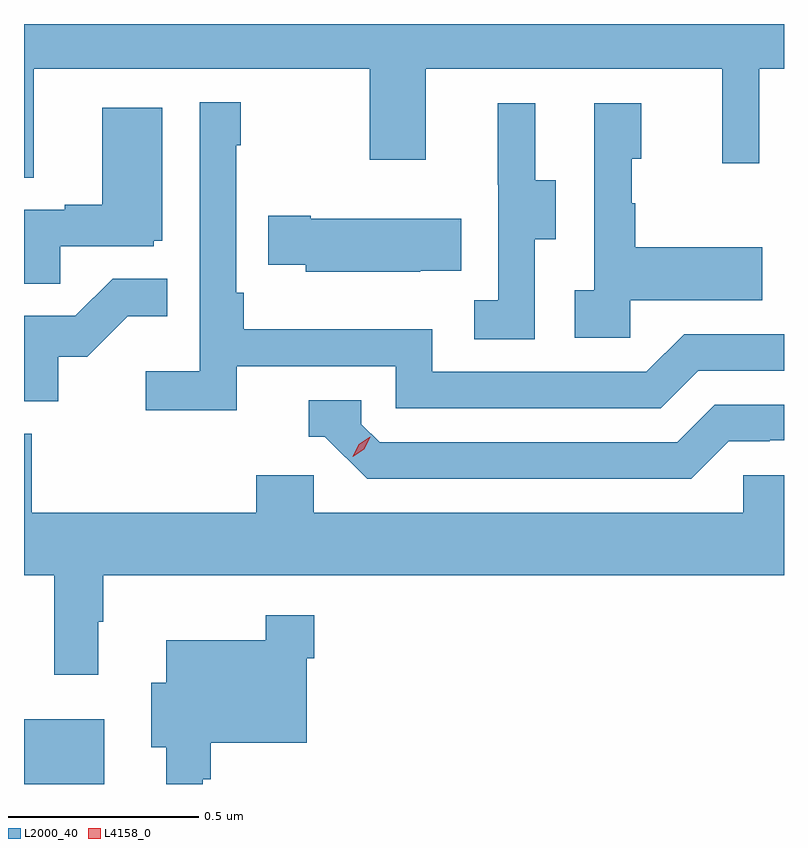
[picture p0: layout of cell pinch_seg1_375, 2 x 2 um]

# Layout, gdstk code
import gdstk
lib = gdstk.Library(unit=1e-6, precision=1e-09)
def R(c, l, rs):  # rectangles x0, y0, x1, y1
    for r in rs: c.add(gdstk.rectangle(r[:2], r[2:], *l))
def P(c, l, *ps):  # polygons
    for p in ps: c.add(gdstk.Polygon(p, *l))
L2000_40 = (2000, 40)
L4158_0 = (4158, 0)

pinch_seg1_375 = lib.new_cell('pinch_seg1_375')
R(pinch_seg1_375, L2000_40, [(970.11,527.206,970.321,527.377)])
P(pinch_seg1_375, L2000_40, [(970.135,529.088),(971.02,529.088),(971.02,528.849),(971.167,528.849),(971.167,529.088),(971.948,529.088),(971.948,528.84),(972.045,528.84),(972.045,529.088),(972.11,529.088),(972.11,529.206),(970.11,529.206),(970.11,528.802),(970.135,528.802)],
  [(970.67,528.306),(971.088,528.306),(971.088,528.195),(971.785,528.195),(971.884,528.294),(972.11,528.294),(972.11,528.39),(971.847,528.39),(971.748,528.291),(971.184,528.291),(971.184,528.403),(970.688,528.403),(970.688,528.499),(970.668,528.499),(970.668,528.887),(970.681,528.887),(970.681,529),(970.572,529),(970.572,528.292),(970.431,528.292),(970.431,528.19),(970.67,528.19)],
  [(971.706,528.479),(972.053,528.479),(972.053,528.619),(971.719,528.619),(971.719,528.734),(971.709,528.734),(971.709,528.852),(971.734,528.852),(971.734,528.997),(971.61,528.997),(971.61,528.506),(971.559,528.506),(971.559,528.381),(971.706,528.381)],
  [(971.454,528.64),(971.509,528.64),(971.509,528.795),(971.455,528.795),(971.455,528.997),(971.357,528.997),(971.357,528.783),(971.358,528.783),(971.358,528.479),(971.295,528.479),(971.295,528.376),(971.454,528.376)],
  [(970.205,528.621),(970.452,528.621),(970.452,528.636),(970.474,528.636),(970.474,528.985),(970.316,528.985),(970.316,528.73),(970.217,528.73),(970.217,528.717),(970.11,528.717),(970.11,528.523),(970.205,528.523)],
  [(971.153,528.557),(971.261,528.557),(971.261,528.694),(970.864,528.694),(970.864,528.702),(970.753,528.702),(970.753,528.572),(970.851,528.572),(970.851,528.554),(971.153,528.554)],
  [(970.2,528.33),(970.276,528.33),(970.383,528.437),(970.487,528.437),(970.487,528.536),(970.343,528.536),(970.245,528.438),(970.11,528.438),(970.11,528.213),(970.2,528.213)],
  [(971.965,528.108),(972.072,528.108),(972.072,528.111),(972.11,528.111),(972.11,528.204),(971.928,528.204),(971.829,528.105),(971.046,528.105),(970.998,528.153),(970.998,528.216),(970.859,528.216),(970.859,528.12),(970.902,528.12),(971.013,528.009),(971.866,528.009)],
  [(970.306,527.633),(970.318,527.633),(970.318,527.756),(972.11,527.756),(972.11,528.018),(972.003,528.018),(972.003,527.92),(970.872,527.92),(970.872,528.018),(970.721,528.018),(970.721,527.92),(970.13,527.92),(970.13,528.128),(970.11,528.128),(970.11,527.756),(970.189,527.756),(970.189,527.493),(970.306,527.493)],
  [(970.581,527.219),(970.601,527.219),(970.601,527.315),(970.854,527.315),(970.854,527.537),(970.874,527.537),(970.874,527.65),(970.746,527.65),(970.746,527.584),(970.484,527.584),(970.484,527.473),(970.445,527.473),(970.445,527.303),(970.484,527.303),(970.484,527.206),(970.581,527.206)])
P(pinch_seg1_375, L4158_0, [(970.975,528.067),(970.975,528.067),(970.991,528.1),(971.021,528.12),(971.021,528.12),(971.021,528.119),(971.006,528.087),(970.975,528.067)])

lib.write_gds('pinch_seg1_375.gds')
